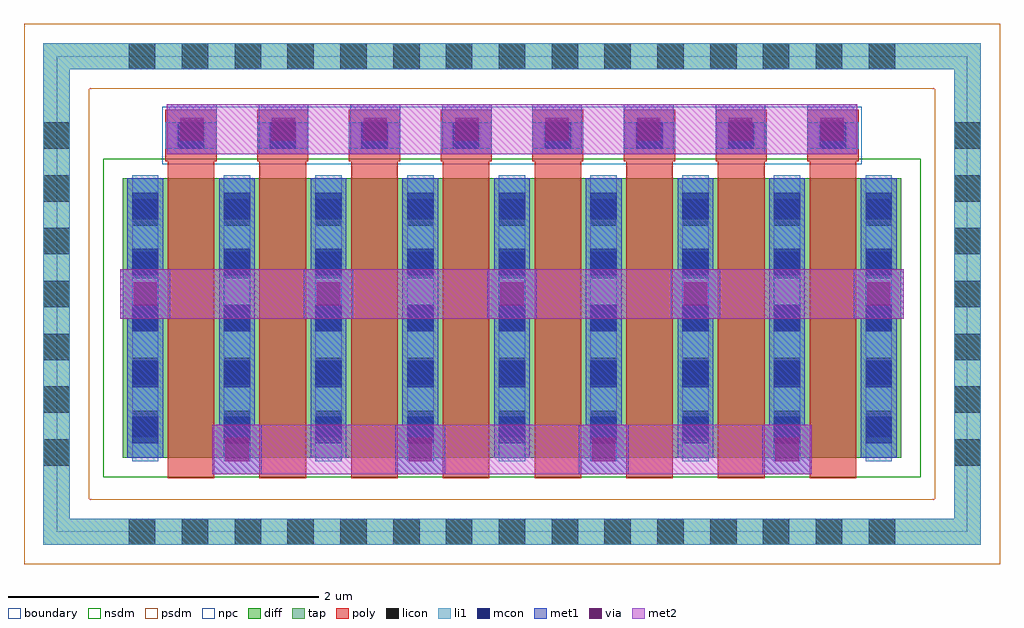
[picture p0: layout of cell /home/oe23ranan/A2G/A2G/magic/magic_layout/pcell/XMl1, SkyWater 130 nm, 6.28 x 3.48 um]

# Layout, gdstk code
import gdstk
lib = gdstk.Library(unit=1e-6, precision=1e-09)
def R(c, l, rs):  # rectangles x0, y0, x1, y1
    for r in rs: c.add(gdstk.rectangle(r[:2], r[2:], *l))
def A(c, l, x, y, w, h, nx, ny, dx, dy):  # array of equal rectangles
    R(c, l, [(x+i*dx, y+j*dy, x+i*dx+w, y+j*dy+h) for i in range(nx) for j in range(ny)])
diff = (65, 20)
tap = (65, 44)
poly = (66, 20)
licon = (66, 44)
li1 = (67, 20)
mcon = (67, 44)
met1 = (68, 20)
via = (68, 44)
met2 = (69, 20)
nsdm = (93, 44)
psdm = (94, 20)
npc = (95, 20)
boundary = (235, 4)

via_m1_m2_1 = lib.new_cell('via_M1_M2_1')
R(via_m1_m2_1, met1, [(-0.16,-0.16,0.16,0.16)])
R(via_m1_m2_1, via, [(-0.075,-0.075,0.075,0.075)])
R(via_m1_m2_1, met2, [(-0.16,-0.16,0.16,0.16)])

xml1_origin = lib.new_cell('XMl1_origin')
R(xml1_origin, diff, [(-2.505,-1.055,2.505,0.745)])
R(xml1_origin, tap, [(-3.015,-1.615,3.015,-1.445), (-3.015,-1.445,-2.845,1.445), (2.845,-1.445,3.015,1.445), (-3.015,1.445,3.015,1.615)])
A(xml1_origin, poly, -2.215, -1.185, 0.3, 2.04, 8, 1, 0.59, 0)
A(xml1_origin, poly, -2.23, 0.855, 0.33, 0.33, 8, 1, 0.59, 0)
A(xml1_origin, licon, -2.465, -1.615, 0.17, 0.17, 15, 2, 0.34, 3.06)
A(xml1_origin, licon, -3.015, -1.105, 0.17, 0.17, 1, 7, 0, 0.34)
A(xml1_origin, licon, 2.845, -1.105, 0.17, 0.17, 1, 7, 0, 0.34)
A(xml1_origin, licon, -2.445, -0.92, 0.17, 0.17, 9, 5, 0.59, 0.34)
A(xml1_origin, licon, -2.15, 0.935, 0.17, 0.17, 8, 1, 0.59, 0)
A(xml1_origin, li1, -2.445, -1.075, 0.17, 1.84, 9, 1, 0.59, 0)
A(xml1_origin, li1, -2.23, 0.935, 0.33, 0.17, 8, 1, 0.59, 0)
R(xml1_origin, li1, [(-3.015,-1.615,3.015,-1.445), (-3.015,-1.445,-2.845,1.445), (2.845,-1.445,3.015,1.445), (-3.015,1.445,3.015,1.615)])
A(xml1_origin, mcon, -2.445, -0.96, 0.17, 0.17, 9, 5, 0.59, 0.36)
A(xml1_origin, mcon, -2.15, 0.935, 0.17, 0.17, 8, 1, 0.59, 0)
A(xml1_origin, met1, -2.475, -1.055, 0.23, 1.8, 9, 1, 0.59, 0)
A(xml1_origin, met1, -2.21, 0.905, 0.29, 0.23, 8, 1, 0.59, 0)
R(xml1_origin, nsdm, [(-2.63,-1.18,2.63,0.87)])
R(xml1_origin, psdm, [(-3.14,-1.74,3.14,-1.32), (-3.14,-1.32,-2.72,1.32), (2.72,-1.32,3.14,1.32), (-3.14,1.32,3.14,1.74)])
R(xml1_origin, npc, [(-2.25,0.835,2.25,1.205)])
R(xml1_origin, boundary, [(-2.93,-1.53,2.93,1.53)])
xml1_origin.add(gdstk.Label('G', (-2.065,1.02), layer=68, texttype=5))
xml1_origin.add(gdstk.Label('G', (-1.475,1.02), layer=68, texttype=5))
xml1_origin.add(gdstk.Label('G', (-0.885,1.02), layer=68, texttype=5))
xml1_origin.add(gdstk.Label('G', (-0.295,1.02), layer=68, texttype=5))
xml1_origin.add(gdstk.Label('G', (0.295,1.02), layer=68, texttype=5))
xml1_origin.add(gdstk.Label('G', (0.885,1.02), layer=68, texttype=5))
xml1_origin.add(gdstk.Label('G', (1.475,1.02), layer=68, texttype=5))
xml1_origin.add(gdstk.Label('G', (2.065,1.02), layer=68, texttype=5))
xml1_origin.add(gdstk.Label('D', (-2.36,-0.155), layer=68, texttype=5))
xml1_origin.add(gdstk.Label('S', (-1.77,-0.155), layer=68, texttype=5))
xml1_origin.add(gdstk.Label('D', (-1.18,-0.155), layer=68, texttype=5))
xml1_origin.add(gdstk.Label('S', (-0.59,-0.155), layer=68, texttype=5))
xml1_origin.add(gdstk.Label('D', (0,-0.155), layer=68, texttype=5))
xml1_origin.add(gdstk.Label('S', (0.59,-0.155), layer=68, texttype=5))
xml1_origin.add(gdstk.Label('D', (1.18,-0.155), layer=68, texttype=5))
xml1_origin.add(gdstk.Label('S', (1.77,-0.155), layer=68, texttype=5))
xml1_origin.add(gdstk.Label('D', (2.36,-0.155), layer=68, texttype=5))

c__home_oe23ranan_a2g_a2g_ = lib.new_cell('/home/oe23ranan/A2G/A2G/magic/magic_layout/pcell/XMl1')
R(c__home_oe23ranan_a2g_a2g_, met2, [(-1.93,-1.16,1.93,-0.84), (-2.52,-0.16,2.52,0.16), (-2.22,0.9,2.22,1.22)])
c__home_oe23ranan_a2g_a2g_.add(gdstk.Reference(via_m1_m2_1, (-2.36,0)))
c__home_oe23ranan_a2g_a2g_.add(gdstk.Reference(via_m1_m2_1, (-1.18,0)))
c__home_oe23ranan_a2g_a2g_.add(gdstk.Reference(via_m1_m2_1, (0,0)))
c__home_oe23ranan_a2g_a2g_.add(gdstk.Reference(via_m1_m2_1, (1.18,0)))
c__home_oe23ranan_a2g_a2g_.add(gdstk.Reference(via_m1_m2_1, (2.36,0)))
c__home_oe23ranan_a2g_a2g_.add(gdstk.Reference(via_m1_m2_1, (-1.77,-1)))
c__home_oe23ranan_a2g_a2g_.add(gdstk.Reference(via_m1_m2_1, (-0.59,-1)))
c__home_oe23ranan_a2g_a2g_.add(gdstk.Reference(via_m1_m2_1, (0.59,-1)))
c__home_oe23ranan_a2g_a2g_.add(gdstk.Reference(via_m1_m2_1, (1.77,-1)))
c__home_oe23ranan_a2g_a2g_.add(gdstk.Reference(via_m1_m2_1, (2.06,1.06)))
c__home_oe23ranan_a2g_a2g_.add(gdstk.Reference(via_m1_m2_1, (1.47,1.06)))
c__home_oe23ranan_a2g_a2g_.add(gdstk.Reference(via_m1_m2_1, (0.88,1.06)))
c__home_oe23ranan_a2g_a2g_.add(gdstk.Reference(via_m1_m2_1, (0.29,1.06)))
c__home_oe23ranan_a2g_a2g_.add(gdstk.Reference(via_m1_m2_1, (-0.29,1.06)))
c__home_oe23ranan_a2g_a2g_.add(gdstk.Reference(via_m1_m2_1, (-0.88,1.06)))
c__home_oe23ranan_a2g_a2g_.add(gdstk.Reference(via_m1_m2_1, (-1.47,1.06)))
c__home_oe23ranan_a2g_a2g_.add(gdstk.Reference(via_m1_m2_1, (-2.06,1.06)))
c__home_oe23ranan_a2g_a2g_.add(gdstk.Reference(xml1_origin, (0,0)))

lib.write_gds('_home_oe23ranan_A2G_A2G_magic_magic_layout_pcell_XMl1.gds')
